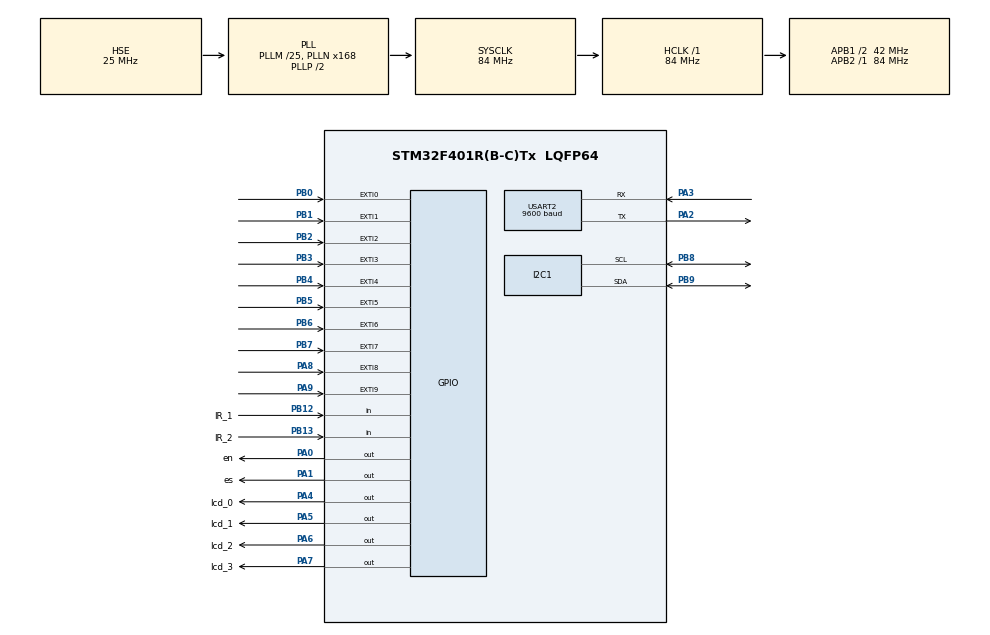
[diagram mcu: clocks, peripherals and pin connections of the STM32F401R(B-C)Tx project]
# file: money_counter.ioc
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Mcu.Family=STM32F4
Mcu.Name=STM32F401R(B-C)Tx
Mcu.Package=LQFP64
NVIC.EXTI0_IRQn=true\:0\:0\:false\:false\:true\:true\:true\:true
NVIC.EXTI1_IRQn=true\:0\:0\:false\:false\:true\:true\:true\:true
NVIC.EXTI2_IRQn=true\:0\:0\:false\:false\:true\:true\:true\:true
NVIC.EXTI3_IRQn=true\:0\:0\:false\:false\:true\:true\:true\:true
NVIC.EXTI4_IRQn=true\:0\:0\:false\:false\:true\:true\:true\:true
NVIC.EXTI9_5_IRQn=true\:0\:0\:false\:false\:true\:true\:true\:true
NVIC.I2C1_EV_IRQn=true\:0\:0\:false\:false\:true\:true\:true\:true
NVIC.PriorityGroup=NVIC_PRIORITYGROUP_4
NVIC.USART2_IRQn=true\:0\:0\:false\:false\:true\:true\:true\:true
PA0-WKUP.GPIO_Label=en
PA0-WKUP.Signal=GPIO_Output
PA1.GPIO_Label=es
PA1.Signal=GPIO_Output
PA2.Mode=Asynchronous
PA2.Signal=USART2_TX
PA3.Mode=Asynchronous
PA3.Signal=USART2_RX
PA4.GPIO_Label=lcd_0
PA4.Signal=GPIO_Output
PA5.GPIO_Label=lcd_1
PA5.Signal=GPIO_Output
PA6.GPIO_Label=lcd_2
PA6.Signal=GPIO_Output
PA7.GPIO_Label=lcd_3
PA7.Signal=GPIO_Output
PA8.GPIO_PuPd=GPIO_PULLDOWN
PA8.Signal=GPXTI8
PA9.GPIO_PuPd=GPIO_PULLDOWN
PA9.Signal=GPXTI9
PB0.GPIO_PuPd=GPIO_PULLDOWN
PB0.Signal=GPXTI0
PB1.GPIO_PuPd=GPIO_PULLDOWN
PB1.Signal=GPXTI1
PB12.GPIO_Label=IR_1
PB12.Signal=GPIO_Input
PB13.GPIO_Label=IR_2
PB13.Signal=GPIO_Input
PB2.GPIO_PuPd=GPIO_PULLDOWN
PB2.Signal=GPXTI2
PB3.GPIO_PuPd=GPIO_PULLDOWN
PB3.Signal=GPXTI3
PB4.GPIO_PuPd=GPIO_PULLDOWN
PB4.Signal=GPXTI4
PB5.GPIO_PuPd=GPIO_PULLDOWN
PB5.Signal=GPXTI5
PB6.GPIO_PuPd=GPIO_PULLDOWN
PB6.Signal=GPXTI6
PB7.GPIO_PuPd=GPIO_PULLDOWN
PB7.Signal=GPXTI7
PB8.Mode=I2C
PB8.Signal=I2C1_SCL
PB9.Mode=I2C
PB9.Signal=I2C1_SDA
PH0\ -\ OSC_IN.Mode=HSE-External-Oscillator
PH0\ -\ OSC_IN.Signal=RCC_OSC_IN
PH1\ -\ OSC_OUT.Mode=HSE-External-Oscillator
PH1\ -\ OSC_OUT.Signal=RCC_OSC_OUT
ProjectManager.HeapSize=0x200
ProjectManager.StackSize=0x400
ProjectManager.TargetToolchain=STM32CubeIDE
RCC.48MHZClocksFreq_Value=42000000
RCC.AHBFreq_Value=84000000
RCC.APB1CLKDivider=RCC_HCLK_DIV2
RCC.APB1Freq_Value=42000000
RCC.APB1TimFreq_Value=84000000
RCC.APB2Freq_Value=84000000
RCC.APB2TimFreq_Value=84000000
RCC.CortexFreq_Value=84000000
RCC.HCLKFreq_Value=84000000
RCC.HSE_VALUE=25000000
RCC.HSI_VALUE=16000000
RCC.LSE_VALUE=32768
RCC.PLLM=25
RCC.PLLN=168
RCC.PLLSourceVirtual=RCC_PLLSOURCE_HSE
RCC.SYSCLKFreq_VALUE=84000000
RCC.SYSCLKSource=RCC_SYSCLKSOURCE_PLLCLK
RCC.VCOOutputFreq_Value=168000000
USART2.BaudRate=9600
USART2.VirtualMode=VM_ASYNC
board=custom

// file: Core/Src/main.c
/* USER CODE BEGIN Header */
/**
  ******************************************************************************
  * @file           : main.c
  * @brief          : Main program body
  ******************************************************************************
  * @attention
  *
  * Copyright (c) 2025 STMicroelectronics.
  * All rights reserved.
  *
  * This software is licensed under terms that can be found in the LICENSE file
  * in the root directory of this software component.
  * If no LICENSE file comes with this software, it is provided AS-IS.
  *
  ******************************************************************************
  */
/* USER CODE END Header */
#include "main.h"
#include "i2c.h"
#include "usart.h"
#include "gpio.h"

/* USER CODE BEGIN Includes */
#include "lcd_cfg.h"
#include "rgb.h"
/* USER CODE END Includes */

/* USER CODE BEGIN PTD */
//NoteProfile notes[] = {
//    {1000, 1300,  800, 1100, 600, 900, "5 EGP"},
//    {1400, 1700, 1100, 1400, 900, 1200, "10 EGP"},
//    // Add others here...
//};

/* USER CODE END PTD */

/* USER CODE BEGIN PD */
#define RECEIVE_DATA 1
/* USER CODE END PD */

/* USER CODE BEGIN PV */
uint8_t BL_data ;
uint8_t money_category ;
uint8_t counter ;

char ch_counter[12];
char ch_total[12];
char ch_ca[12];
uint8_t ir1_status;

uint16_t total;

uint8_t flag ;

uint16_t red,green,blue,clear;

uint8_t ca5_counter;
uint8_t ca10_counter;
uint8_t ca20_counter;
uint8_t ca50_counter;
uint8_t ca100_counter;
uint8_t ca200_counter;

uint8_t ch_5[12];

uint8_t flag2;
/* USER CODE END PV */

void SystemClock_Config(void);

int main(void)
{

  /* MCU Configuration--------------------------------------------------------*/

  /* Reset of all peripherals, Initializes the Flash interface and the Systick. */
  HAL_Init();

  /* Configure the system clock */
  SystemClock_Config();

  /* Initialize all configured peripherals */
  MX_GPIO_Init();
  MX_I2C1_Init();
  MX_USART2_UART_Init();
  /* USER CODE BEGIN 2 */

  lcd_4bit_intialize(&lcd_1);
  //TCS34725_Init(&hi2c1);
  HAL_UART_Receive_IT(&huart2, &BL_data, 1);

  /* USER CODE END 2 */

  /* Infinite loop */
  /* USER CODE BEGIN WHILE */
  lcd_4bit_send_command(&lcd_1, _LCD_CLEAR);
  lcd_4bit_send_string_pos(&lcd_1, 1, 1, "Count :");
  lcd_4bit_send_string_pos(&lcd_1, 2, 1, "Total :");
  lcd_4bit_send_string_pos(&lcd_1, 1, 11, "CA:");

  while (1)
  {

	  if(!(HAL_GPIO_ReadPin(IR_1_GPIO_Port, IR_1_Pin))){
		  lcd_4bit_send_command(&lcd_1, _LCD_CLEAR);
		  lcd_4bit_send_string_pos(&lcd_1, 1, 1, "count:");
		  lcd_4bit_send_string_pos(&lcd_1, 2, 1, "Total :");
		  lcd_4bit_send_string_pos(&lcd_1, 1, 11, "CA:");
		  counter++;
		  switch(money_category){
		  case 200:
			  ca200_counter++;
			  break;
		  case 100:
			  ca100_counter++;
			  break;
		  case 50:
			  ca50_counter++;
			  break;
		  case 20:
			  ca20_counter++;
			  break;
		  case 10:
			  ca10_counter++;
			  break;
		  case 5:
			  ca5_counter++;
			  break;
		  }
		  //total += ((counter*money_category) - (money_category * (counter-1)));
		  total += money_category;  // every time
		  convert_uint8_to_string(counter,ch_counter);
		  convert_uint8_to_string(money_category,ch_ca);
		  convert_uint16_to_string(total,ch_total);
		  lcd_4bit_send_string_pos(&lcd_1, 1, 8,ch_counter);
		  lcd_4bit_send_string_pos(&lcd_1, 1, 14,ch_ca);
		  lcd_4bit_send_string_pos(&lcd_1, 2, 9,ch_total);
		  while(!(HAL_GPIO_ReadPin(IR_1_GPIO_Port, IR_1_Pin)));
		  HAL_Delay(50);
	  }
	  if(flag){
		 flag = 0;
		 money_category = 0 ;
		total = 0 ;
	    counter = 0;
		ca5_counter = 0;
		ca50_counter = 0;
		ca20_counter = 0;
		ca100_counter = 0;
		ca10_counter = 0;
		ca200_counter = 0;
		lcd_4bit_send_command(&lcd_1, _LCD_CLEAR);
		lcd_4bit_send_command(&lcd_1, _LCD_CLEAR);
		lcd_4bit_send_string_pos(&lcd_1, 1, 1, "count:");
		lcd_4bit_send_string_pos(&lcd_1, 2, 1, "Total :");
		lcd_4bit_send_string_pos(&lcd_1, 1, 11, "CA:");
	  }

	  if(flag2){
		  flag2 = 0;
			lcd_4bit_send_command(&lcd_1, _LCD_CLEAR);
			lcd_4bit_send_string_pos(&lcd_1, 1, 1, "5 10 20 50 100 2");
			convert_uint8_to_string(ca5_counter,ch_5);
			lcd_4bit_send_string_pos(&lcd_1, 2, 1,ch_5 );
			convert_uint8_to_string(ca10_counter,ch_5);
			lcd_4bit_send_string_pos(&lcd_1, 2, 3,ch_5);
			convert_uint8_to_string(ca20_counter,ch_5);
			lcd_4bit_send_string_pos(&lcd_1, 2, 6,ch_5);
			convert_uint8_to_string(ca50_counter,ch_5);
			lcd_4bit_send_string_pos(&lcd_1, 2, 10,ch_5);
			convert_uint8_to_string(ca100_counter,ch_5);
			lcd_4bit_send_string_pos(&lcd_1, 2, 13,ch_5);
			convert_uint8_to_string(ca200_counter,ch_5);
			lcd_4bit_send_string_pos(&lcd_1, 2, 16,ch_5);
	  }

    /* USER CODE END WHILE */

  }
}

void SystemClock_Config(void)
{
  RCC_OscInitTypeDef RCC_OscInitStruct = {0};
  RCC_ClkInitTypeDef RCC_ClkInitStruct = {0};

  /** Configure the main internal regulator output voltage
  */
  __HAL_RCC_PWR_CLK_ENABLE();
  __HAL_PWR_VOLTAGESCALING_CONFIG(PWR_REGULATOR_VOLTAGE_SCALE2);

  /** Initializes the RCC Oscillators according to the specified parameters
  * in the RCC_OscInitTypeDef structure.
  */
  RCC_OscInitStruct.OscillatorType = RCC_OSCILLATORTYPE_HSE;
  RCC_OscInitStruct.HSEState = RCC_HSE_ON;
  RCC_OscInitStruct.PLL.PLLState = RCC_PLL_ON;
  RCC_OscInitStruct.PLL.PLLSource = RCC_PLLSOURCE_HSE;
  RCC_OscInitStruct.PLL.PLLM = 25;
  RCC_OscInitStruct.PLL.PLLN = 168;
  RCC_OscInitStruct.PLL.PLLP = RCC_PLLP_DIV2;
  RCC_OscInitStruct.PLL.PLLQ = 4;
  if (HAL_RCC_OscConfig(&RCC_OscInitStruct) != HAL_OK)
  {
    Error_Handler();
  }

  /** Initializes the CPU, AHB and APB buses clocks
  */
  RCC_ClkInitStruct.ClockType = RCC_CLOCKTYPE_HCLK|RCC_CLOCKTYPE_SYSCLK
                              |RCC_CLOCKTYPE_PCLK1|RCC_CLOCKTYPE_PCLK2;
  RCC_ClkInitStruct.SYSCLKSource = RCC_SYSCLKSOURCE_PLLCLK;
  RCC_ClkInitStruct.AHBCLKDivider = RCC_SYSCLK_DIV1;
  RCC_ClkInitStruct.APB1CLKDivider = RCC_HCLK_DIV2;
  RCC_ClkInitStruct.APB2CLKDivider = RCC_HCLK_DIV1;

  if (HAL_RCC_ClockConfig(&RCC_ClkInitStruct, FLASH_LATENCY_2) != HAL_OK)
  {
    Error_Handler();
  }
}

/* USER CODE BEGIN 4 */
void HAL_UART_RxCpltCallback(UART_HandleTypeDef *huart){

	HAL_UART_Receive_IT(&huart2, &BL_data, 1);
	switch (BL_data){
	case '1':
		money_category = 5;
		counter = 0;
		break;
	case '2':
		money_category = 10;
		counter = 0;
		break;
	case '3':
		money_category = 20;
		counter = 0;
		break;
	case '4':
		money_category = 50;
		counter = 0;
		break;
	case '5':
		money_category = 100;
		counter = 0;
		break;
	case '6':
		money_category = 200;
		counter = 0;
		break;

	}
}

/* USER CODE END 4 */

void Error_Handler(void)
{
  __disable_irq();
  while (1)
  {
  }
}
